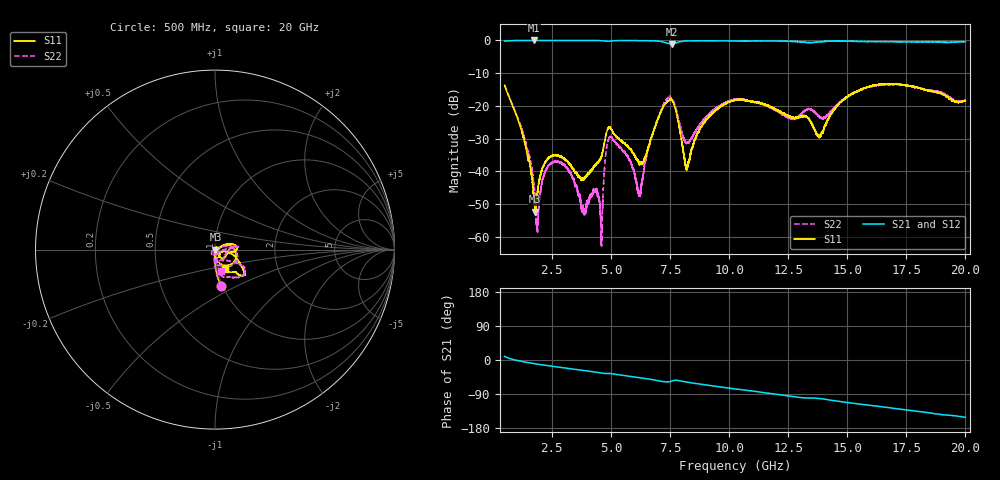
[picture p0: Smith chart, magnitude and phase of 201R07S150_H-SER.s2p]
!{201R07S150}
!Johanson Technology Inc.
!www.johansontechnology.com
!Test Board Conditions:
!Substrate Type  RO4350B
!Substrate Thickness  10 mil
!Substrate Dk  3.66
!TL Type: GCPW
!TL Trace Width  21 mil
!TL Gap  20 mil
!Electrode orientation  Horizontal
!DUT TOPOLOGY	SERIES
!Mounting Pad LxW  16x21 mil
!Agilent Technologies,N5230A,MY45001966,A.07.50.67
!Agilent N5230A: A.07.50.67
! Created Mon Mar  9 15:51:50 2020
# mhz S ma R 50
! 2 Port Network Data from SP1.SP block
! freq  magS11  angS11  magS21  angS21  magS12  angS12  magS22  angS22
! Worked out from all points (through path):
!   19501 points, 500 MHz to 20 GHz, reference 50 ohm
!   highest |S21| = -0.01 dB at 1.744 GHz (marker M1); lowest = -1.2 dB at 7.574 GHz (marker M2)
!   group delay of S21, straight-line fit = 21.5 ps
!   lowest |S11| = -52.3 dB at 1.799 GHz (marker M3), VSWR 1.00, Z = 50.2 - j0.0418 ohm
!   |S11| at or under -10 dB: start of sweep to end of sweep
!   |S22| runs from -62.9 to -13.4 dB; largest |S21 - S12| = 0.014
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500  0.2061 -80.7  0.9763 9.5  0.9776 9.4  0.2081 -80.8
1285  0.0345 -92.1  0.9978 -4.6  0.9968 -4.6  0.03845 -97.4
1744  0.003614 -63.8  0.9989 -9.5  0.9975 -9.5  0.006212 -110.7
1799  0.002424 -9.9  0.9983 -10.1  0.9981 -10.0  0.003571 -118.5
1914  0.005612 45.1  0.9982 -11.2  0.9977 -11.2  0.001661 126.9
2159  0.01224 57.8  0.9981 -13.4  0.9978 -13.4  0.008513 87.8
2680  0.01752 54.5  0.9971 -17.9  0.9982 -17.9  0.01386 81.5
3750  0.007576 -8.0  0.9982 -26.9  0.9968 -26.9  0.00286 121.0
4331  0.01256 -55.1  0.9957 -31.8  0.9961 -31.8  0.005163 -164.1
4583  0.01631 -43.3  0.9912 -34.1  0.9926 -34.1  0.0009722 -129.2
4804  0.03848 -46.4  0.9711 -35.8  0.9705 -35.7  0.02113 -54.0
4980  0.04588 -81.2  0.9779 -35.7  0.9782 -35.7  0.03391 -107.5
6212  0.01244 -53.2  0.9931 -46.7  0.9943 -46.7  0.004669 114.5
7000  0.06441 21.1  0.9752 -54.6  0.975 -54.5  0.06634 15.2
7574  0.123 -37.7  0.8742 -55.7  0.8755 -55.7  0.1291 -41.9
8218  0.01104 -22.9  0.9795 -58.4  0.9816 -58.4  0.02736 -44.7
8966  0.05621 28.5  0.9871 -65.5  0.9884 -65.5  0.0627 3.3
10250  0.1219 9.3  0.9806 -76.2  0.9804 -76.2  0.1259 7.4
13500  0.05311 -56.5  0.9313 -100.4  0.929 -100.4  0.08636 -84.7
13838  0.03342 -30.7  0.9501 -101.8  0.9563 -101.9  0.0671 -82.4
16750  0.2161 -40.4  0.9617 -125.5  0.9531 -125.8  0.2136 -39.1
20000  0.12 -61.8  0.9601 -151.1  0.9607 -150.9  0.1222 -73.7
